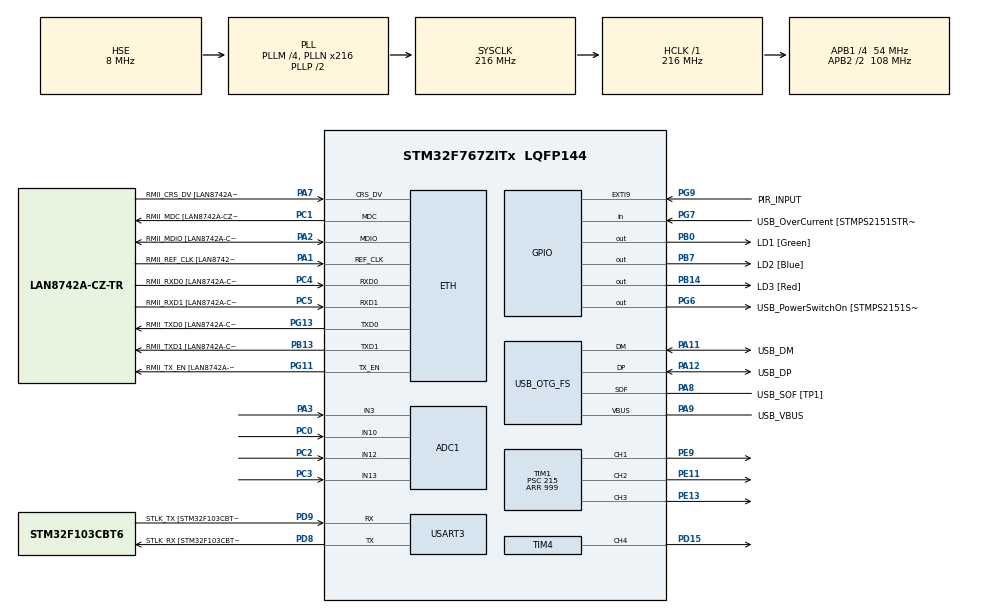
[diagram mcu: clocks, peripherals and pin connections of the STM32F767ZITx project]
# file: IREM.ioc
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ADC1.Channel-0\#ChannelRegularConversion=ADC_CHANNEL_3
ADC1.Channel-1\#ChannelRegularConversion=ADC_CHANNEL_10
ADC1.Channel-2\#ChannelRegularConversion=ADC_CHANNEL_12
ADC1.Channel-3\#ChannelRegularConversion=ADC_CHANNEL_13
ADC1.ContinuousConvMode=ENABLE
ADC1.NbrOfConversion=4
ADC1.NbrOfConversionFlag=1
ADC1.Rank-0\#ChannelRegularConversion=1
ADC1.Rank-1\#ChannelRegularConversion=2
ADC1.Rank-2\#ChannelRegularConversion=3
ADC1.Rank-3\#ChannelRegularConversion=4
ADC1.SamplingTime-0\#ChannelRegularConversion=ADC_SAMPLETIME_480CYCLES
ADC1.SamplingTime-1\#ChannelRegularConversion=ADC_SAMPLETIME_480CYCLES
ADC1.SamplingTime-2\#ChannelRegularConversion=ADC_SAMPLETIME_480CYCLES
ADC1.SamplingTime-3\#ChannelRegularConversion=ADC_SAMPLETIME_480CYCLES
ADC1.ScanConvMode=ADC_SCAN_ENABLE
ADC1.master=1
CORTEX_M7.default_mode_Activation=1
ETH.MediaInterface=HAL_ETH_RMII_MODE
ETH.PHY_Name=LAN8742A_PHY_ADDRESS
ETH.PHY_Value=0
ETH.PhyAddress=0
FREERTOS.Queues01=EnvQueue,5,4,1,Dynamic,NULL,NULL
FREERTOS.Tasks01=defaultTask,24,256,StartDefaultTask,Default,NULL,Dynamic,NULL,NULL;WakeUpTask,24,256,StartWakeUpTask,Default,NULL,Dynamic,NULL,NULL;EnvControlTask,24,256,StartEnvControlTask,Default,NULL,Dynamic,NULL,NULL;PIRTask,32,256,StartPIRTask,Default,NULL,Dynamic,NULL,NULL
Mcu.Family=STM32F7
Mcu.Name=STM32F767ZITx
Mcu.Package=LQFP144
NVIC.EXTI9_5_IRQn=true\:5\:0\:false\:false\:true\:true\:true\:true\:true
NVIC.PriorityGroup=NVIC_PRIORITYGROUP_4
PA1.GPIO_Label=RMII_REF_CLK [LAN8742A-CZ-TR_REFCLK0]
PA1.Mode=RMII
PA1.Signal=ETH_REF_CLK
PA10.GPIO_Label=USB_ID
PA10.Signal=USB_OTG_FS_ID
PA11.GPIO_Label=USB_DM
PA11.Mode=Device_Only
PA11.Signal=USB_OTG_FS_DM
PA12.GPIO_Label=USB_DP
PA12.Mode=Device_Only
PA12.Signal=USB_OTG_FS_DP
PA13.GPIO_Label=TMS
PA13.Mode=Serial_Wire
PA13.Signal=SYS_JTMS-SWDIO
PA14.GPIO_Label=TCK
PA14.Mode=Serial_Wire
PA14.Signal=SYS_JTCK-SWCLK
PA2.GPIO_Label=RMII_MDIO [LAN8742A-CZ-TR_MDIO]
PA2.Mode=RMII
PA2.Signal=ETH_MDIO
PA3.Signal=ADCx_IN3
PA7.GPIO_Label=RMII_CRS_DV [LAN8742A-CZ-TR_CRS_DV]
PA7.Mode=RMII
PA7.Signal=ETH_CRS_DV
PA8.GPIO_Label=USB_SOF [TP1]
PA8.Mode=Activate_SOF_FS
PA8.Signal=USB_OTG_FS_SOF
PA9.GPIO_Label=USB_VBUS
PA9.Mode=Activate_VBUS
PA9.Signal=USB_OTG_FS_VBUS
PB0.GPIO_Label=LD1 [Green]
PB0.Signal=GPIO_Output
PB13.GPIO_Label=RMII_TXD1 [LAN8742A-CZ-TR_TXD1]
PB13.Mode=RMII
PB13.Signal=ETH_TXD1
PB14.GPIO_Label=LD3 [Red]
PB14.Signal=GPIO_Output
PB3.GPIO_Label=SWO
PB3.Signal=SYS_JTDO-SWO
PB7.GPIO_Label=LD2 [Blue]
PB7.Signal=GPIO_Output
PC0.Signal=ADCx_IN10
PC1.GPIO_Label=RMII_MDC [LAN8742A-CZ-TR_MDC]
PC1.Mode=RMII
PC1.Signal=ETH_MDC
PC14/OSC32_IN.Mode=LSE-External-Oscillator
PC14/OSC32_IN.Signal=RCC_OSC32_IN
PC15/OSC32_OUT.Mode=LSE-External-Oscillator
PC15/OSC32_OUT.Signal=RCC_OSC32_OUT
PC2.Signal=ADCx_IN12
PC3.Signal=ADCx_IN13
PC4.GPIO_Label=RMII_RXD0 [LAN8742A-CZ-TR_RXD0]
PC4.Mode=RMII
PC4.Signal=ETH_RXD0
PC5.GPIO_Label=RMII_RXD1 [LAN8742A-CZ-TR_RXD1]
PC5.Mode=RMII
PC5.Signal=ETH_RXD1
PD15.Signal=S_TIM4_CH4
PD8.GPIO_Label=STLK_RX [STM32F103CBT6_PA3]
PD8.Mode=Asynchronous
PD8.Signal=USART3_TX
PD9.GPIO_Label=STLK_TX [STM32F103CBT6_PA2]
PD9.Mode=Asynchronous
PD9.Signal=USART3_RX
PE11.Signal=S_TIM1_CH2
PE13.Signal=S_TIM1_CH3
PE9.Signal=S_TIM1_CH1
PG11.GPIO_Label=RMII_TX_EN [LAN8742A-CZ-TR_TXEN]
PG11.Mode=RMII
PG11.Signal=ETH_TX_EN
PG13.GPIO_Label=RMII_TXD0 [LAN8742A-CZ-TR_TXD0]
PG13.Mode=RMII
PG13.Signal=ETH_TXD0
PG6.GPIO_Label=USB_PowerSwitchOn [STMPS2151STR_EN]
PG6.Signal=GPIO_Output
PG7.GPIO_Label=USB_OverCurrent [STMPS2151STR_FAULT]
PG7.Signal=GPIO_Input
PG9.GPIO_Label=PIR_INPUT
PG9.GPIO_ModeDefaultEXTI=GPIO_MODE_IT_RISING_FALLING
PG9.GPIO_PuPd=GPIO_PULLDOWN
PG9.Signal=GPXTI9
PH0/OSC_IN.GPIO_Label=MCO [STM32F103CBT6_PA8]
PH0/OSC_IN.Mode=HSE-External-Clock-Source
PH0/OSC_IN.Signal=RCC_OSC_IN
PH1/OSC_OUT.Mode=HSE-External-Clock-Source
PH1/OSC_OUT.Signal=RCC_OSC_OUT
ProjectManager.HeapSize=0x200
ProjectManager.StackSize=0x400
ProjectManager.TargetToolchain=STM32CubeIDE
RCC.48MHZClocksFreq_Value=24000000
RCC.AHBFreq_Value=216000000
RCC.APB1CLKDivider=RCC_HCLK_DIV4
RCC.APB1Freq_Value=54000000
RCC.APB1TimFreq_Value=108000000
RCC.APB2CLKDivider=RCC_HCLK_DIV2
RCC.APB2Freq_Value=108000000
RCC.APB2TimFreq_Value=216000000
RCC.CortexFreq_Value=216000000
RCC.HCLKFreq_Value=216000000
RCC.HSE_VALUE=8000000
RCC.HSI_VALUE=16000000
RCC.PLLM=4
RCC.PLLMUL=RCC_PLL_MUL9
RCC.PLLN=216
RCC.PLLQ=9
RCC.PRESCALERUSB=RCC_USBCLKSOURCE_PLL_DIV1_5
RCC.SYSCLKFreq_VALUE=216000000
RCC.SYSCLKSource=RCC_SYSCLKSOURCE_PLLCLK
RCC.SYSCLKSourceVirtual=RCC_SYSCLKSOURCE_PLLCLK
RCC.USBFreq_Value=48000000
RCC.VCOOutputFreq_Value=432000000
SH.ADCx_IN10.0=ADC1_IN10,IN10
SH.ADCx_IN12.0=ADC1_IN12,IN12
SH.ADCx_IN13.0=ADC1_IN13,IN13
SH.ADCx_IN3.0=ADC1_IN3,IN3
SH.S_TIM1_CH1.0=TIM1_CH1,PWM Generation1 CH1
SH.S_TIM1_CH2.0=TIM1_CH2,PWM Generation2 CH2
SH.S_TIM1_CH3.0=TIM1_CH3,PWM Generation3 CH3
SH.S_TIM4_CH4.0=TIM4_CH4,PWM Generation4 CH4
TIM1.AutoReloadPreload=TIM_AUTORELOAD_PRELOAD_ENABLE
TIM1.Channel-PWM\ Generation1\ CH1=TIM_CHANNEL_1
TIM1.Channel-PWM\ Generation2\ CH2=TIM_CHANNEL_2
TIM1.Channel-PWM\ Generation3\ CH3=TIM_CHANNEL_3
TIM1.Period=999
TIM1.Prescaler=215
TIM4.AutoReloadPreload=TIM_AUTORELOAD_PRELOAD_ENABLE
TIM4.Channel-PWM\ Generation4\ CH4=TIM_CHANNEL_4
TIM4.Period=999
TIM4.Prescaler=215
USART3.VirtualMode-Asynchronous=VM_ASYNC
USB_OTG_FS.VirtualMode=Device_Only
VP_FREERTOS_VS_CMSIS_V2.Mode=CMSIS_V2
VP_TIM1_VS_ClockSourceINT.Mode=Internal
VP_TIM4_VS_ClockSourceINT.Mode=Internal
board=NUCLEO-F767ZI

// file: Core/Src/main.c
/* USER CODE BEGIN Header */
/**
  ******************************************************************************
  * @file           : main.c
  * @brief          : Main program body
  ******************************************************************************
  * @attention
  *
  * Copyright (c) 2026 STMicroelectronics.
  * All rights reserved.
  *
  * This software is licensed under terms that can be found in the LICENSE file
  * in the root directory of this software component.
  * If no LICENSE file comes with this software, it is provided AS-IS.
  *
  ******************************************************************************
  */
/* USER CODE END Header */
#include "main.h"
#include "cmsis_os.h"
#include "adc.h"
#include "eth.h"
#include "tim.h"
#include "usart.h"
#include "usb_otg.h"
#include "gpio.h"

void SystemClock_Config(void);
static void MPU_Config(void);
void MX_FREERTOS_Init(void);

int main(void)
{

  /* MPU Configuration--------------------------------------------------------*/
  MPU_Config();

  /* MCU Configuration--------------------------------------------------------*/

  /* Reset of all peripherals, Initializes the Flash interface and the Systick. */
  HAL_Init();

  /* Configure the system clock */
  SystemClock_Config();

  /* Initialize all configured peripherals */
  MX_GPIO_Init();
  MX_ADC1_Init();
  MX_ETH_Init();
  MX_TIM1_Init();
  MX_TIM4_Init();
  MX_USART3_UART_Init();
  MX_USB_OTG_FS_PCD_Init();
  /* USER CODE BEGIN 2 */
  HAL_TIM_PWM_Start(&htim1, TIM_CHANNEL_1);
  HAL_TIM_PWM_Start(&htim1, TIM_CHANNEL_2);
  HAL_TIM_PWM_Start(&htim1, TIM_CHANNEL_3);
  HAL_TIM_PWM_Start(&htim4, TIM_CHANNEL_4);
  /* USER CODE END 2 */

  /* Init scheduler */
  osKernelInitialize();  /* Call init function for freertos objects (in cmsis_os2.c) */
  MX_FREERTOS_Init();

  /* Start scheduler */
  osKernelStart();

  /* We should never get here as control is now taken by the scheduler */

  /* Infinite loop */
  while (1)
  {

  }
}

void SystemClock_Config(void)
{
  RCC_OscInitTypeDef RCC_OscInitStruct = {0};
  RCC_ClkInitTypeDef RCC_ClkInitStruct = {0};

  /** Configure LSE Drive Capability
  */
  HAL_PWR_EnableBkUpAccess();

  /** Configure the main internal regulator output voltage
  */
  __HAL_RCC_PWR_CLK_ENABLE();
  __HAL_PWR_VOLTAGESCALING_CONFIG(PWR_REGULATOR_VOLTAGE_SCALE1);

  /** Initializes the RCC Oscillators according to the specified parameters
  * in the RCC_OscInitTypeDef structure.
  */
  RCC_OscInitStruct.OscillatorType = RCC_OSCILLATORTYPE_HSE;
  RCC_OscInitStruct.HSEState = RCC_HSE_BYPASS;
  RCC_OscInitStruct.PLL.PLLState = RCC_PLL_ON;
  RCC_OscInitStruct.PLL.PLLSource = RCC_PLLSOURCE_HSE;
  RCC_OscInitStruct.PLL.PLLM = 4;
  RCC_OscInitStruct.PLL.PLLN = 216;
  RCC_OscInitStruct.PLL.PLLP = RCC_PLLP_DIV2;
  RCC_OscInitStruct.PLL.PLLQ = 9;
  RCC_OscInitStruct.PLL.PLLR = 2;
  if (HAL_RCC_OscConfig(&RCC_OscInitStruct) != HAL_OK)
  {
    Error_Handler();
  }

  /** Activate the Over-Drive mode
  */
  if (HAL_PWREx_EnableOverDrive() != HAL_OK)
  {
    Error_Handler();
  }

  /** Initializes the CPU, AHB and APB buses clocks
  */
  RCC_ClkInitStruct.ClockType = RCC_CLOCKTYPE_HCLK|RCC_CLOCKTYPE_SYSCLK
                              |RCC_CLOCKTYPE_PCLK1|RCC_CLOCKTYPE_PCLK2;
  RCC_ClkInitStruct.SYSCLKSource = RCC_SYSCLKSOURCE_PLLCLK;
  RCC_ClkInitStruct.AHBCLKDivider = RCC_SYSCLK_DIV1;
  RCC_ClkInitStruct.APB1CLKDivider = RCC_HCLK_DIV4;
  RCC_ClkInitStruct.APB2CLKDivider = RCC_HCLK_DIV2;

  if (HAL_RCC_ClockConfig(&RCC_ClkInitStruct, FLASH_LATENCY_7) != HAL_OK)
  {
    Error_Handler();
  }
}

 /* MPU Configuration */

void MPU_Config(void)
{
  MPU_Region_InitTypeDef MPU_InitStruct = {0};

  /* Disables the MPU */
  HAL_MPU_Disable();

  /** Initializes and configures the Region and the memory to be protected
  */
  MPU_InitStruct.Enable = MPU_REGION_ENABLE;
  MPU_InitStruct.Number = MPU_REGION_NUMBER0;
  MPU_InitStruct.BaseAddress = 0x0;
  MPU_InitStruct.Size = MPU_REGION_SIZE_4GB;
  MPU_InitStruct.SubRegionDisable = 0x87;
  MPU_InitStruct.TypeExtField = MPU_TEX_LEVEL0;
  MPU_InitStruct.AccessPermission = MPU_REGION_NO_ACCESS;
  MPU_InitStruct.DisableExec = MPU_INSTRUCTION_ACCESS_DISABLE;
  MPU_InitStruct.IsShareable = MPU_ACCESS_SHAREABLE;
  MPU_InitStruct.IsCacheable = MPU_ACCESS_NOT_CACHEABLE;
  MPU_InitStruct.IsBufferable = MPU_ACCESS_NOT_BUFFERABLE;

  HAL_MPU_ConfigRegion(&MPU_InitStruct);
  /* Enables the MPU */
  HAL_MPU_Enable(MPU_PRIVILEGED_DEFAULT);

}

void Error_Handler(void)
{
  __disable_irq();
  while (1)
  {
  }
}

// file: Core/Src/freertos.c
/* USER CODE BEGIN Header */
/**
  ******************************************************************************
  * File Name          : freertos.c
  * Description        : Code for freertos applications
  ******************************************************************************
  * @attention
  *
  * Copyright (c) 2026 STMicroelectronics.
  * All rights reserved.
  *
  * This software is licensed under terms that can be found in the LICENSE file
  * in the root directory of this software component.
  * If no LICENSE file comes with this software, it is provided AS-IS.
  *
  ******************************************************************************
  */
/* USER CODE END Header */

#include "FreeRTOS.h"
#include "task.h"
#include "main.h"
#include "cmsis_os.h"

/* USER CODE BEGIN Includes */
#include "adc.h"
#include "tim.h"
#include "usart.h"
#include "gpio.h"
#include <stdio.h>
#include <string.h>
/* USER CODE END Includes */

/* USER CODE BEGIN PD */
#define PWM_MAX        999
#define WAKE_UP_MSG    1
#define LIGHT_DOWN_MSG 2
/* USER CODE END PD */

/* USER CODE BEGIN Variables */
uint32_t adcValues[4];
uint8_t presenceDetected = 0;
/* USER CODE END Variables */
/* Definitions for defaultTask */
osThreadId_t defaultTaskHandle;
const osThreadAttr_t defaultTask_attributes = {
  .name = "defaultTask",
  .stack_size = 256 * 4,
  .priority = (osPriority_t) osPriorityNormal,
};
/* Definitions for WakeUpTask */
osThreadId_t WakeUpTaskHandle;
const osThreadAttr_t WakeUpTask_attributes = {
  .name = "WakeUpTask",
  .stack_size = 256 * 4,
  .priority = (osPriority_t) osPriorityNormal,
};
/* Definitions for EnvControlTask */
osThreadId_t EnvControlTaskHandle;
const osThreadAttr_t EnvControlTask_attributes = {
  .name = "EnvControlTask",
  .stack_size = 256 * 4,
  .priority = (osPriority_t) osPriorityNormal,
};
/* Definitions for PIRTask */
osThreadId_t PIRTaskHandle;
const osThreadAttr_t PIRTask_attributes = {
  .name = "PIRTask",
  .stack_size = 256 * 4,
  .priority = (osPriority_t) osPriorityAboveNormal,
};
/* Definitions for EnvQueue */
osMessageQueueId_t EnvQueueHandle;
const osMessageQueueAttr_t EnvQueue_attributes = {
  .name = "EnvQueue"
};

/* USER CODE BEGIN FunctionPrototypes */
void UART_Log(const char* msg)
{
    HAL_UART_Transmit(&huart3, (uint8_t*)msg, strlen(msg), 100);
}
/* USER CODE END FunctionPrototypes */

void StartDefaultTask(void *argument);
void StartWakeUpTask(void *argument);
void StartEnvControlTask(void *argument);
void StartPIRTask(void *argument);

void MX_FREERTOS_Init(void); /* (MISRA C 2004 rule 8.1) */

void MX_FREERTOS_Init(void) {

  /* Create the queue(s) */
  /* creation of EnvQueue */
  EnvQueueHandle = osMessageQueueNew (5, 4, &EnvQueue_attributes);

  /* Create the thread(s) */
  /* creation of defaultTask */
  defaultTaskHandle = osThreadNew(StartDefaultTask, NULL, &defaultTask_attributes);

  /* creation of WakeUpTask */
  WakeUpTaskHandle = osThreadNew(StartWakeUpTask, NULL, &WakeUpTask_attributes);

  /* creation of EnvControlTask */
  EnvControlTaskHandle = osThreadNew(StartEnvControlTask, NULL, &EnvControlTask_attributes);

  /* creation of PIRTask */
  PIRTaskHandle = osThreadNew(StartPIRTask, NULL, &PIRTask_attributes);

}

void StartDefaultTask(void *argument)
{
  for(;;)
  {
    osDelay(1);
  }
}

void StartWakeUpTask(void *argument)
{
	/* USER CODE BEGIN StartWakeUpTask */
	for(;;)
	{
	    osDelay(1000);
	}
	/* USER CODE END StartWakeUpTask */
}

void StartEnvControlTask(void *argument)
{
  /* USER CODE BEGIN StartEnvControlTask */
	uint32_t msg;
	uint32_t targetBrightness;
	char uartBuf[64];

	for(;;)
	{
	    if(osMessageQueueGet(EnvQueueHandle, &msg, NULL, osWaitForever) == osOK)
	    {
	    	// Leer los 4 potenciómetros
	    	HAL_ADC_Stop(&hadc1);
	    	HAL_ADC_Start(&hadc1);
	    	HAL_ADC_PollForConversion(&hadc1, 100);
	    	adcValues[0] = HAL_ADC_GetValue(&hadc1);
	    	HAL_ADC_PollForConversion(&hadc1, 100);
	    	adcValues[1] = HAL_ADC_GetValue(&hadc1);
	    	HAL_ADC_PollForConversion(&hadc1, 100);
	    	adcValues[2] = HAL_ADC_GetValue(&hadc1);
	    	HAL_ADC_PollForConversion(&hadc1, 100);
	    	adcValues[3] = HAL_ADC_GetValue(&hadc1);

	        if(msg == WAKE_UP_MSG)
	        {
	            UART_Log("[WAKE_UP] Rampa iniciando...\r\n");

	            for(uint32_t step = 0; step <= 100; step++)
	            {
	                // LED 1 - TIM1 CH3 (D3)
	                targetBrightness = (adcValues[0] * PWM_MAX) / 4095;
	                __HAL_TIM_SET_COMPARE(&htim1, TIM_CHANNEL_3,
	                    (targetBrightness * step) / 100);

	                // LED 2 - TIM1 CH2 (D5)
	                targetBrightness = (adcValues[1] * PWM_MAX) / 4095;
	                __HAL_TIM_SET_COMPARE(&htim1, TIM_CHANNEL_2,
	                    (targetBrightness * step) / 100);

	                // LED 3 - TIM1 CH1 (D6)
	                targetBrightness = (adcValues[2] * PWM_MAX) / 4095;
	                __HAL_TIM_SET_COMPARE(&htim1, TIM_CHANNEL_1,
	                    (targetBrightness * step) / 100);

	                // LED 4 - TIM4 CH4 (D9)
	                targetBrightness = (adcValues[3] * PWM_MAX) / 4095;
	                __HAL_TIM_SET_COMPARE(&htim4, TIM_CHANNEL_4,
	                    (targetBrightness * step) / 100);

	                // Enviar log UART cada 10 pasos
	                if(step % 10 == 0)
	                {
	                    snprintf(uartBuf, sizeof(uartBuf),
	                        "[DIMMER] Nivel: %lu%% | POT1:%lu POT2:%lu POT3:%lu POT4:%lu\r\n",
	                        step,
	                        (adcValues[0] * 100) / 4095,
	                        (adcValues[1] * 100) / 4095,
	                        (adcValues[2] * 100) / 4095,
	                        (adcValues[3] * 100) / 4095);
	                    UART_Log(uartBuf);
	                }

	                osDelay(50);
	            }
	            UART_Log("[WAKE_UP] Rampa completada.\r\n");
	        }
	        else if(msg == LIGHT_DOWN_MSG)
	        {
	            UART_Log("[LIGHT_DOWN] Bajando brillo...\r\n");

	            for(int32_t step = 100; step >= 0; step--)
	            {
	                targetBrightness = (adcValues[0] * PWM_MAX) / 4095;
	                __HAL_TIM_SET_COMPARE(&htim1, TIM_CHANNEL_3,
	                    (targetBrightness * step) / 100);

	                targetBrightness = (adcValues[1] * PWM_MAX) / 4095;
	                __HAL_TIM_SET_COMPARE(&htim1, TIM_CHANNEL_2,
	                    (targetBrightness * step) / 100);

	                targetBrightness = (adcValues[2] * PWM_MAX) / 4095;
	                __HAL_TIM_SET_COMPARE(&htim1, TIM_CHANNEL_1,
	                    (targetBrightness * step) / 100);

	                targetBrightness = (adcValues[3] * PWM_MAX) / 4095;
	                __HAL_TIM_SET_COMPARE(&htim4, TIM_CHANNEL_4,
	                    (targetBrightness * step) / 100);

	                if(step % 10 == 0)
	                {
	                    snprintf(uartBuf, sizeof(uartBuf),
	                        "[DIMMER] Nivel: %ld%%\r\n", step);
	                    UART_Log(uartBuf);
	                }

	                osDelay(50);
	            }
	            UART_Log("[LIGHT_DOWN] Brillo apagado.\r\n");
	        }
	    }
	}
  /* USER CODE END StartEnvControlTask */
}

void StartPIRTask(void *argument)
{
	/* USER CODE BEGIN StartPIRTask */
	for(;;)
	{
	    osDelay(1000);
	}
	/* USER CODE END StartPIRTask */
}

/* USER CODE BEGIN Application */
void HAL_GPIO_EXTI_Callback(uint16_t GPIO_Pin)
{
    if(GPIO_Pin == GPIO_PIN_9)
    {
        uint32_t msg;
        if(HAL_GPIO_ReadPin(GPIOG, GPIO_PIN_9) == GPIO_PIN_SET)
        {
            if(presenceDetected == 0)
            {
                presenceDetected = 1;
                msg = WAKE_UP_MSG;
                UART_Log("[PIR] Presencia detectada - Encendiendo luces\r\n");
                osMessageQueuePut(EnvQueueHandle, &msg, 0, 0);
            }
        }
        else
        {
            if(presenceDetected == 1)
            {
                presenceDetected = 0;
                msg = LIGHT_DOWN_MSG;
                UART_Log("[PIR] Sin presencia - Apagando luces\r\n");
                osMessageQueuePut(EnvQueueHandle, &msg, 0, 0);
            }
        }
    }
}
/* USER CODE END Application */
